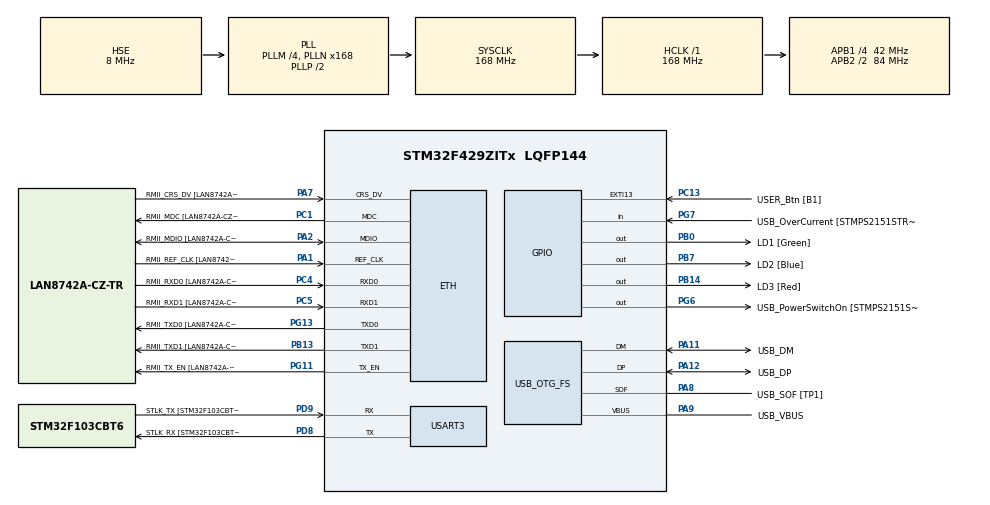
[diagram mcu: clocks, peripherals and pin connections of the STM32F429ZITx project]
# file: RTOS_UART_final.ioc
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ETH.MediaInterface=HAL_ETH_RMII_MODE
ETH.PHY_Name=LAN8742A_PHY_ADDRESS
ETH.PHY_Value=0
ETH.PhyAddress=0
FREERTOS.Tasks01=defaultTask,24,128,StartDefaultTask,Default,NULL,Dynamic,NULL,NULL
Mcu.Family=STM32F4
Mcu.Name=STM32F429ZITx
Mcu.Package=LQFP144
NVIC.PriorityGroup=NVIC_PRIORITYGROUP_4
PA1.GPIO_Label=RMII_REF_CLK [LAN8742A-CZ-TR_REFCLK0]
PA1.Mode=RMII
PA1.Signal=ETH_REF_CLK
PA10.GPIO_Label=USB_ID
PA10.Signal=USB_OTG_FS_ID
PA11.GPIO_Label=USB_DM
PA11.Mode=Device_Only
PA11.Signal=USB_OTG_FS_DM
PA12.GPIO_Label=USB_DP
PA12.Mode=Device_Only
PA12.Signal=USB_OTG_FS_DP
PA13.GPIO_Label=TMS
PA13.Mode=Serial_Wire
PA13.Signal=SYS_JTMS-SWDIO
PA14.GPIO_Label=TCK
PA14.Mode=Serial_Wire
PA14.Signal=SYS_JTCK-SWCLK
PA2.GPIO_Label=RMII_MDIO [LAN8742A-CZ-TR_MDIO]
PA2.Mode=RMII
PA2.Signal=ETH_MDIO
PA7.GPIO_Label=RMII_CRS_DV [LAN8742A-CZ-TR_CRS_DV]
PA7.Mode=RMII
PA7.Signal=ETH_CRS_DV
PA8.GPIO_Label=USB_SOF [TP1]
PA8.Mode=Activate_SOF_FS
PA8.Signal=USB_OTG_FS_SOF
PA9.GPIO_Label=USB_VBUS
PA9.Mode=Activate_VBUS
PA9.Signal=USB_OTG_FS_VBUS
PB0.GPIO_Label=LD1 [Green]
PB0.Signal=GPIO_Output
PB13.GPIO_Label=RMII_TXD1 [LAN8742A-CZ-TR_TXD1]
PB13.Mode=RMII
PB13.Signal=ETH_TXD1
PB14.GPIO_Label=LD3 [Red]
PB14.Signal=GPIO_Output
PB7.GPIO_Label=LD2 [Blue]
PB7.Signal=GPIO_Output
PC1.GPIO_Label=RMII_MDC [LAN8742A-CZ-TR_MDC]
PC1.Mode=RMII
PC1.Signal=ETH_MDC
PC13.GPIO_Label=USER_Btn [B1]
PC13.Signal=GPXTI13
PC14/OSC32_IN.Mode=LSE-External-Oscillator
PC14/OSC32_IN.Signal=RCC_OSC32_IN
PC15/OSC32_OUT.Mode=LSE-External-Oscillator
PC15/OSC32_OUT.Signal=RCC_OSC32_OUT
PC4.GPIO_Label=RMII_RXD0 [LAN8742A-CZ-TR_RXD0]
PC4.Mode=RMII
PC4.Signal=ETH_RXD0
PC5.GPIO_Label=RMII_RXD1 [LAN8742A-CZ-TR_RXD1]
PC5.Mode=RMII
PC5.Signal=ETH_RXD1
PD8.GPIO_Label=STLK_RX [STM32F103CBT6_PA3]
PD8.Mode=Asynchronous
PD8.Signal=USART3_TX
PD9.GPIO_Label=STLK_TX [STM32F103CBT6_PA2]
PD9.Mode=Asynchronous
PD9.Signal=USART3_RX
PG11.GPIO_Label=RMII_TX_EN [LAN8742A-CZ-TR_TXEN]
PG11.Mode=RMII
PG11.Signal=ETH_TX_EN
PG13.GPIO_Label=RMII_TXD0 [LAN8742A-CZ-TR_TXD0]
PG13.Mode=RMII
PG13.Signal=ETH_TXD0
PG6.GPIO_Label=USB_PowerSwitchOn [STMPS2151STR_EN]
PG6.Signal=GPIO_Output
PG7.GPIO_Label=USB_OverCurrent [STMPS2151STR_FAULT]
PG7.Signal=GPIO_Input
PH0/OSC_IN.GPIO_Label=MCO [STM32F103CBT6_PA8]
PH0/OSC_IN.Mode=HSE-External-Clock-Source
PH0/OSC_IN.Signal=RCC_OSC_IN
PH1/OSC_OUT.Mode=HSE-External-Clock-Source
PH1/OSC_OUT.Signal=RCC_OSC_OUT
ProjectManager.HeapSize=0x200
ProjectManager.StackSize=0x400
ProjectManager.TargetToolchain=STM32CubeIDE
RCC.48MHZClocksFreq_Value=48000000
RCC.AHBFreq_Value=168000000
RCC.APB1CLKDivider=RCC_HCLK_DIV4
RCC.APB1Freq_Value=42000000
RCC.APB1TimFreq_Value=84000000
RCC.APB2CLKDivider=RCC_HCLK_DIV2
RCC.APB2Freq_Value=84000000
RCC.APB2TimCLKDivider=2
RCC.APB2TimFreq_Value=168000000
RCC.CortexFreq_Value=168000000
RCC.HCLKFreq_Value=168000000
RCC.HSE_VALUE=8000000
RCC.HSI_VALUE=16000000
RCC.PLLM=4
RCC.PLLMUL=RCC_PLL_MUL9
RCC.PLLN=168
RCC.PLLQ=7
RCC.PRESCALERUSB=RCC_USBCLKSOURCE_PLL_DIV1_5
RCC.SYSCLKFreq_VALUE=168000000
RCC.SYSCLKSource=RCC_SYSCLKSOURCE_PLLCLK
RCC.SYSCLKSourceVirtual=RCC_SYSCLKSOURCE_PLLCLK
RCC.USBFreq_Value=48000000
RCC.VCOOutputFreq_Value=336000000
USART3.VirtualMode=VM_ASYNC
USB_OTG_FS.VirtualMode=Device_Only
VP_FREERTOS_VS_CMSIS_V2.Mode=CMSIS_V2
board=NUCLEO-F429ZI

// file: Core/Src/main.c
/* USER CODE BEGIN Header */
/**
  ******************************************************************************
  * @file           : main.c
  * @brief          : Main program body
  ******************************************************************************
  * @attention
  *
  * Copyright (c) 2026 STMicroelectronics.
  * All rights reserved.
  *
  * This software is licensed under terms that can be found in the LICENSE file
  * in the root directory of this software component.
  * If no LICENSE file comes with this software, it is provided AS-IS.
  *
  ******************************************************************************
  */
/* USER CODE END Header */
#include "main.h"
#include "string.h"
#include "cmsis_os.h"

/* USER CODE BEGIN Includes */
#include "FreeRTOS.h"
#include "queue.h"
#include "semphr.h"
#include "shm.h"
#include "uart.h"
#include "math.h"
/* USER CODE END Includes */

ETH_TxPacketConfig TxConfig;
ETH_DMADescTypeDef  DMARxDscrTab[ETH_RX_DESC_CNT]; /* Ethernet Rx DMA Descriptors */
ETH_DMADescTypeDef  DMATxDscrTab[ETH_TX_DESC_CNT]; /* Ethernet Tx DMA Descriptors */

ETH_HandleTypeDef heth;

UART_HandleTypeDef huart3;

PCD_HandleTypeDef hpcd_USB_OTG_FS;

/* Definitions for defaultTask */
osThreadId_t defaultTaskHandle;
const osThreadAttr_t defaultTask_attributes = {
  .name = "defaultTask",
  .stack_size = 128 * 4,
  .priority = (osPriority_t) osPriorityNormal,
};

void SystemClock_Config(void);
static void MX_GPIO_Init(void);
static void MX_ETH_Init(void);
static void MX_USART3_UART_Init(void);
static void MX_USB_OTG_FS_PCD_Init(void);
void StartDefaultTask(void *argument);

/* USER CODE BEGIN PFP */
void StartUARTTask(void *argument);
/* USER CODE END PFP */

/* USER CODE BEGIN 0 */
SystemSharedData_t RPi_Shared_Data;
SemaphoreHandle_t  shm_mutex = NULL;
/* USER CODE END 0 */

int main(void)
{

  /* MCU Configuration--------------------------------------------------------*/

  /* Reset of all peripherals, Initializes the Flash interface and the Systick. */
  HAL_Init();

  /* Configure the system clock */
  SystemClock_Config();

  /* Initialize all configured peripherals */
  MX_GPIO_Init();
  MX_ETH_Init();
  MX_USART3_UART_Init();
  MX_USB_OTG_FS_PCD_Init();
  /* USER CODE BEGIN 2 */
    UART_Task_Init(); // 하드웨어 및 NVIC 초기화

	shm_mutex = xSemaphoreCreateMutex();
	if (shm_mutex == NULL) {
		while(1);
	}

	// 초기 데이터 설정
	RPi_Shared_Data.module_type  = MODULE_COLD_CHAIN;
	RPi_Shared_Data.module_id    = (uint32_t)2026;
	RPi_Shared_Data.reported_power_w  = 45.5f;
	RPi_Shared_Data.pressure_value    = 101.5f;
	RPi_Shared_Data.current_speed_rpm = 15.5f;
	RPi_Shared_Data.current_temp_c    = 4.5f;
	RPi_Shared_Data.warning_flag = 1;
  /* USER CODE END 2 */

  /* Init scheduler */
  osKernelInitialize();

  /* Create the thread(s) */
  /* creation of defaultTask */
  defaultTaskHandle = osThreadNew(StartDefaultTask, NULL, &defaultTask_attributes);

  /* USER CODE BEGIN RTOS_THREADS */
  TaskHandle_t xUartTaskHandle = NULL;
  xTaskCreate(StartUARTTask, "UART_Task", 512, NULL, osPriorityAboveNormal, &xUartTaskHandle);
  /* USER CODE END RTOS_THREADS */

  /* USER CODE BEGIN RTOS_EVENTS */
  NVIC_SetPriority(USART3_IRQn, 5); // 우선순위 설정 (적절히 조절 가능)
  NVIC_EnableIRQ(USART3_IRQn);
  /* USER CODE END RTOS_EVENTS */

  /* Start scheduler */
  osKernelStart();

  /* We should never get here as control is now taken by the scheduler */

  /* Infinite loop */
  while (1)
  {

  }
}

void SystemClock_Config(void)
{
  RCC_OscInitTypeDef RCC_OscInitStruct = {0};
  RCC_ClkInitTypeDef RCC_ClkInitStruct = {0};

  /** Configure the main internal regulator output voltage
  */
  __HAL_RCC_PWR_CLK_ENABLE();
  __HAL_PWR_VOLTAGESCALING_CONFIG(PWR_REGULATOR_VOLTAGE_SCALE1);

  /** Initializes the RCC Oscillators according to the specified parameters
  * in the RCC_OscInitTypeDef structure.
  */
  RCC_OscInitStruct.OscillatorType = RCC_OSCILLATORTYPE_HSE;
  RCC_OscInitStruct.HSEState = RCC_HSE_BYPASS;
  RCC_OscInitStruct.PLL.PLLState = RCC_PLL_ON;
  RCC_OscInitStruct.PLL.PLLSource = RCC_PLLSOURCE_HSE;
  RCC_OscInitStruct.PLL.PLLM = 4;
  RCC_OscInitStruct.PLL.PLLN = 168;
  RCC_OscInitStruct.PLL.PLLP = RCC_PLLP_DIV2;
  RCC_OscInitStruct.PLL.PLLQ = 7;
  if (HAL_RCC_OscConfig(&RCC_OscInitStruct) != HAL_OK)
  {
    Error_Handler();
  }

  /** Initializes the CPU, AHB and APB buses clocks
  */
  RCC_ClkInitStruct.ClockType = RCC_CLOCKTYPE_HCLK|RCC_CLOCKTYPE_SYSCLK
                              |RCC_CLOCKTYPE_PCLK1|RCC_CLOCKTYPE_PCLK2;
  RCC_ClkInitStruct.SYSCLKSource = RCC_SYSCLKSOURCE_PLLCLK;
  RCC_ClkInitStruct.AHBCLKDivider = RCC_SYSCLK_DIV1;
  RCC_ClkInitStruct.APB1CLKDivider = RCC_HCLK_DIV4;
  RCC_ClkInitStruct.APB2CLKDivider = RCC_HCLK_DIV2;

  if (HAL_RCC_ClockConfig(&RCC_ClkInitStruct, FLASH_LATENCY_5) != HAL_OK)
  {
    Error_Handler();
  }
}

static void MX_ETH_Init(void)
{

   static uint8_t MACAddr[6];

  heth.Instance = ETH;
  MACAddr[0] = 0x00;
  MACAddr[1] = 0x80;
  MACAddr[2] = 0xE1;
  MACAddr[3] = 0x00;
  MACAddr[4] = 0x00;
  MACAddr[5] = 0x00;
  heth.Init.MACAddr = &MACAddr[0];
  heth.Init.MediaInterface = HAL_ETH_RMII_MODE;
  heth.Init.TxDesc = DMATxDscrTab;
  heth.Init.RxDesc = DMARxDscrTab;
  heth.Init.RxBuffLen = 1524;

  if (HAL_ETH_Init(&heth) != HAL_OK)
  {
    Error_Handler();
  }

  memset(&TxConfig, 0 , sizeof(ETH_TxPacketConfig));
  TxConfig.Attributes = ETH_TX_PACKETS_FEATURES_CSUM | ETH_TX_PACKETS_FEATURES_CRCPAD;
  TxConfig.ChecksumCtrl = ETH_CHECKSUM_IPHDR_PAYLOAD_INSERT_PHDR_CALC;
  TxConfig.CRCPadCtrl = ETH_CRC_PAD_INSERT;

}

static void MX_USART3_UART_Init(void)
{

  huart3.Instance = USART3;
  huart3.Init.BaudRate = 115200;
  huart3.Init.WordLength = UART_WORDLENGTH_8B;
  huart3.Init.StopBits = UART_STOPBITS_1;
  huart3.Init.Parity = UART_PARITY_NONE;
  huart3.Init.Mode = UART_MODE_TX_RX;
  huart3.Init.HwFlowCtl = UART_HWCONTROL_NONE;
  huart3.Init.OverSampling = UART_OVERSAMPLING_16;
  if (HAL_UART_Init(&huart3) != HAL_OK)
  {
    Error_Handler();
  }

}

static void MX_USB_OTG_FS_PCD_Init(void)
{

  hpcd_USB_OTG_FS.Instance = USB_OTG_FS;
  hpcd_USB_OTG_FS.Init.dev_endpoints = 4;
  hpcd_USB_OTG_FS.Init.speed = PCD_SPEED_FULL;
  hpcd_USB_OTG_FS.Init.dma_enable = DISABLE;
  hpcd_USB_OTG_FS.Init.phy_itface = PCD_PHY_EMBEDDED;
  hpcd_USB_OTG_FS.Init.Sof_enable = ENABLE;
  hpcd_USB_OTG_FS.Init.low_power_enable = DISABLE;
  hpcd_USB_OTG_FS.Init.lpm_enable = DISABLE;
  hpcd_USB_OTG_FS.Init.vbus_sensing_enable = ENABLE;
  hpcd_USB_OTG_FS.Init.use_dedicated_ep1 = DISABLE;
  if (HAL_PCD_Init(&hpcd_USB_OTG_FS) != HAL_OK)
  {
    Error_Handler();
  }

}

static void MX_GPIO_Init(void)
{
  GPIO_InitTypeDef GPIO_InitStruct = {0};

  /* GPIO Ports Clock Enable */
  __HAL_RCC_GPIOC_CLK_ENABLE();
  __HAL_RCC_GPIOH_CLK_ENABLE();
  __HAL_RCC_GPIOA_CLK_ENABLE();
  __HAL_RCC_GPIOB_CLK_ENABLE();
  __HAL_RCC_GPIOD_CLK_ENABLE();
  __HAL_RCC_GPIOG_CLK_ENABLE();

  /*Configure GPIO pin Output Level */
  HAL_GPIO_WritePin(GPIOB, LD1_Pin|LD3_Pin|LD2_Pin, GPIO_PIN_RESET);

  /*Configure GPIO pin Output Level */
  HAL_GPIO_WritePin(USB_PowerSwitchOn_GPIO_Port, USB_PowerSwitchOn_Pin, GPIO_PIN_RESET);

  /*Configure GPIO pin : USER_Btn_Pin */
  GPIO_InitStruct.Pin = USER_Btn_Pin;
  GPIO_InitStruct.Mode = GPIO_MODE_IT_RISING;
  GPIO_InitStruct.Pull = GPIO_NOPULL;
  HAL_GPIO_Init(USER_Btn_GPIO_Port, &GPIO_InitStruct);

  /*Configure GPIO pins : LD1_Pin LD3_Pin LD2_Pin */
  GPIO_InitStruct.Pin = LD1_Pin|LD3_Pin|LD2_Pin;
  GPIO_InitStruct.Mode = GPIO_MODE_OUTPUT_PP;
  GPIO_InitStruct.Pull = GPIO_NOPULL;
  GPIO_InitStruct.Speed = GPIO_SPEED_FREQ_LOW;
  HAL_GPIO_Init(GPIOB, &GPIO_InitStruct);

  /*Configure GPIO pin : USB_PowerSwitchOn_Pin */
  GPIO_InitStruct.Pin = USB_PowerSwitchOn_Pin;
  GPIO_InitStruct.Mode = GPIO_MODE_OUTPUT_PP;
  GPIO_InitStruct.Pull = GPIO_NOPULL;
  GPIO_InitStruct.Speed = GPIO_SPEED_FREQ_LOW;
  HAL_GPIO_Init(USB_PowerSwitchOn_GPIO_Port, &GPIO_InitStruct);

  /*Configure GPIO pin : USB_OverCurrent_Pin */
  GPIO_InitStruct.Pin = USB_OverCurrent_Pin;
  GPIO_InitStruct.Mode = GPIO_MODE_INPUT;
  GPIO_InitStruct.Pull = GPIO_NOPULL;
  HAL_GPIO_Init(USB_OverCurrent_GPIO_Port, &GPIO_InitStruct);

}

void StartDefaultTask(void *argument)
{
  /* USER CODE BEGIN 5 */

  // 디버깅용 내부 변수 초기화
  //uint32_t debug_counter = 0;
  float time_elapsed = 0.0f;
  const float TIME_STEP = 0.05f; // 50ms 기준 시간 증가량

  /* Infinite loop */
  for(;;)
  {
    // 1. 뮤텍스를 획득하여 데이터 오염 방지 (타임아웃 10ms)
    if (xSemaphoreTake(shm_mutex, pdMS_TO_TICKS(10)))
    {
      // [1] 시퀀스 카운터 및 ID 업데이트 (패킷 유실 확인용)
    	RPi_Shared_Data.module_id = (uint32_t)1;

      // [2] 아날로그 데이터 시뮬레이션 (사인파를 이용한 부드러운 파형 생성)
      // 예: 온도를 20.0~30.0℃ 사이에서 왕복 변경
    	RPi_Shared_Data.current_temp_c = (uint32_t)(25 + 5);

      // 예: 압력을 1000.0~1050.0 hPa 사이에서 왕복 변경 (위상차 적용)
    	RPi_Shared_Data.pressure_value = (uint32_t)(1025.0f + 20.0f * sinf(time_elapsed + 1.57f));

      // 예: RPM을 0 ~ 3000 사이에서 서서히 증가 및 초기화
    	RPi_Shared_Data.current_speed_rpm = (uint32_t)(1025.0f + 20.0f * sinf(time_elapsed + 1.57f));

    	RPi_Shared_Data.warning_flag = 0x01;

      // [4] 전력 데이터 계산 (가상 연산)
    	RPi_Shared_Data.reported_power_w = (uint32_t)(1025);
    	HAL_GPIO_TogglePin(GPIOB, GPIO_PIN_7);

      // 뮤텍스 해제 (다른 송수신 태스크가 접근할 수 있도록 허용)
      xSemaphoreGive(shm_mutex);
    }

    // 시간 변수 업데이트
    time_elapsed += TIME_STEP;
    if (time_elapsed > 628.318f) // 약 100*2Pi 이후 오버플로 방지용 리셋
    {
      time_elapsed = 0.0f;
    }

    // [중요] 1ms(osDelay(1))는 데이터 업데이트 및 통신 주기로 너무 빠릅니다.
    // 다른 UART/CAN 송신 태스크의 주기에 맞추거나, CPU 점유율을 위해 50ms 주기로 변경을 권장합니다.
    for(volatile int i = 0; i < 10000000; i++){};
  }
  /* USER CODE END 5 */
}

void Error_Handler(void)
{
  __disable_irq();
  while (1)
  {
  }
}
